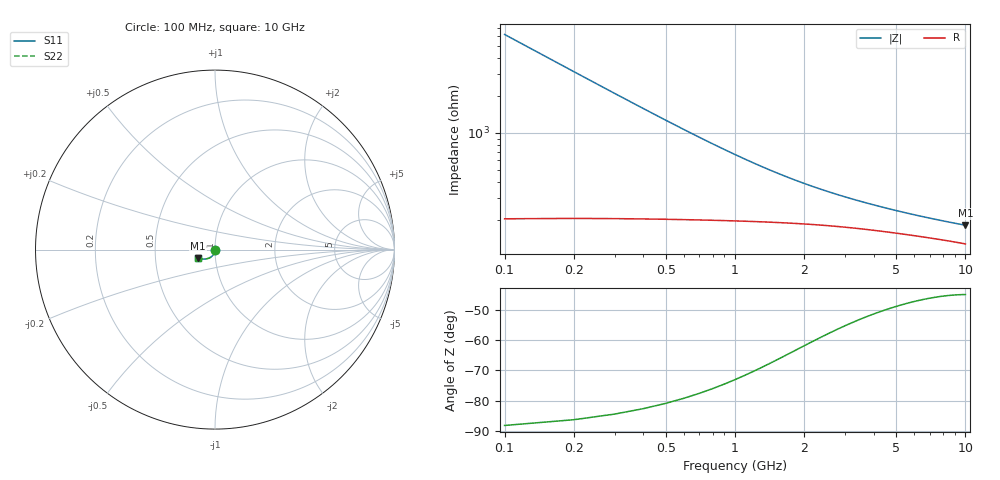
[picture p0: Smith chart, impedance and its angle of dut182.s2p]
! Touchstone file exported from HFSS 2024.1.0
!  File:  C:/UserFiles/LocalFiles/RDL_TSV_Batchsim/temp_TSV1_182_1778756336.aedt
!  Generated:  07:04:04 PM May 14, 2026
!  Design:  TSV1
!  Project:  temp_TSV1_182_1778756336
!  Setup:  Setup1
!  Solution:  Sweep
! Variables:
!  dtsv = 21.8um
!  hbump = 3um
!  htsv = 97.76um
!  lrdl = 252.1521522um
!  p = 40
!  p1 = 59.43um
!  t = 500um
!  trdl = 3um
!  wrdl = 24.89489489um
# GHz S MA R 50.000000
! Terminal data exported
! Port[1] = TSV22_T1
! Port[2] = TSV22_T2
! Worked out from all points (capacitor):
!   100 points, 100 MHz to 10 GHz, reference 50 ohm
!   read as one part in shunt: C = 256 fF near 100 MHz
!   lowest |Z| = 180 ohm at 10 GHz (marker M1)
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0.1  0.003633 -91.0  0.9998 -0.3  0.9998 -0.3  0.003633 -91.0
! Gamma 0 0 0 0
! Port Impedance 50 0 50 0
0.2  0.00725 -93.9  0.9993 -0.5  0.9993 -0.5  0.00725 -93.9
0.3  0.01083 -96.3  0.9986 -0.7  0.9986 -0.7  0.01083 -96.3
0.4  0.01436 -98.5  0.9977 -1.0  0.9977 -1.0  0.01436 -98.5
0.5  0.01782 -100.7  0.9965 -1.2  0.9965 -1.2  0.01782 -100.7
0.6  0.02118 -102.7  0.9952 -1.4  0.9952 -1.4  0.02118 -102.7
0.7  0.02445 -104.7  0.9936 -1.6  0.9936 -1.6  0.02445 -104.7
0.8  0.0276 -106.7  0.992 -1.9  0.992 -1.9  0.0276 -106.7
0.9  0.03063 -108.5  0.9902 -2.0  0.9902 -2.0  0.03063 -108.5
1.1  0.03632 -112.0  0.9865 -2.4  0.9865 -2.4  0.03632 -112.0
1.4  0.04392 -116.8  0.9806 -2.8  0.9806 -2.8  0.04392 -116.8
1.6  0.0484 -119.6  0.9767 -3.1  0.9767 -3.1  0.0484 -119.6
1.8  0.05245 -122.1  0.9728 -3.3  0.9728 -3.3  0.05245 -122.1
2.1  0.05782 -125.4  0.9674 -3.6  0.9674 -3.6  0.05782 -125.4
2.5  0.0639 -129.2  0.9608 -3.9  0.9608 -3.9  0.0639 -129.2
2.9  0.06903 -132.3  0.9549 -4.2  0.9549 -4.2  0.06903 -132.3
3.4  0.07444 -135.4  0.9485 -4.5  0.9485 -4.5  0.07444 -135.4
4.2  0.08147 -139.4  0.9399 -4.9  0.9399 -4.9  0.08147 -139.4
5.1  0.08772 -142.8  0.9321 -5.3  0.9321 -5.3  0.08772 -142.8
6.7  0.09603 -147.2  0.9216 -5.9  0.9216 -5.9  0.09603 -147.2
8.4  0.1023 -150.5  0.9135 -6.5  0.9135 -6.5  0.1023 -150.5
10  0.1067 -152.7  0.908 -7.1  0.908 -7.1  0.1067 -152.7
